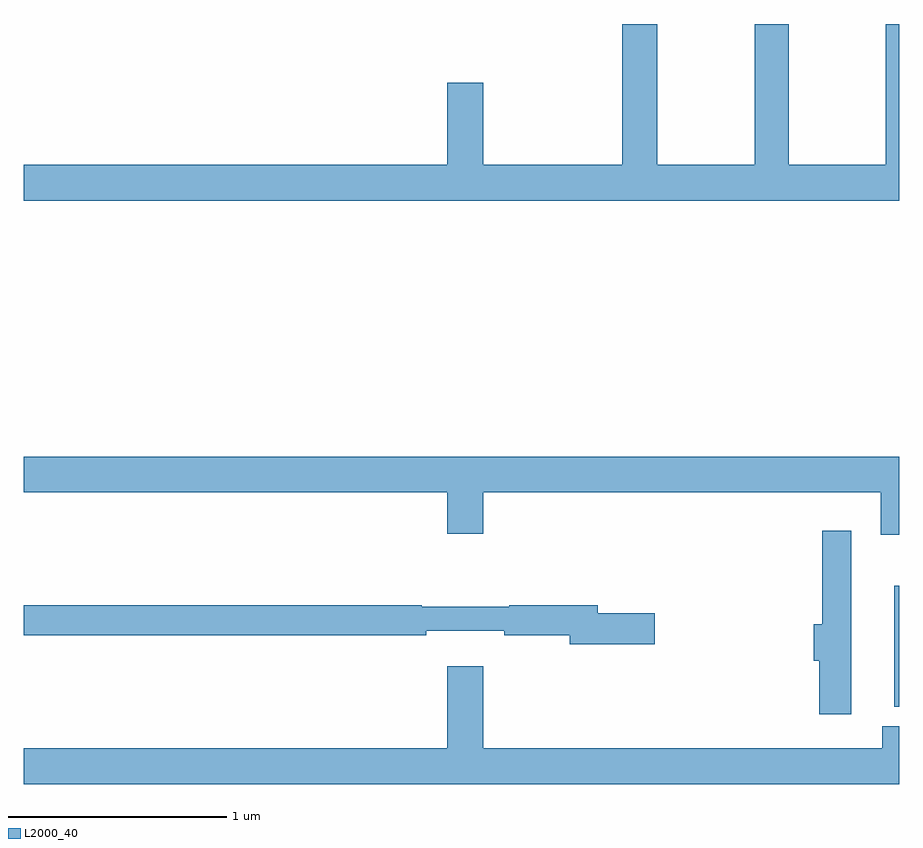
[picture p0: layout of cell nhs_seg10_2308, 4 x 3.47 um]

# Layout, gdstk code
import gdstk
lib = gdstk.Library(unit=1e-6, precision=1e-09)
def R(c, l, rs):  # rectangles x0, y0, x1, y1
    for r in rs: c.add(gdstk.rectangle(r[:2], r[2:], *l))
def P(c, l, *ps):  # polygons
    for p in ps: c.add(gdstk.Polygon(p, *l))
L2000_40 = (2000, 40)

nhs_seg10_2308 = lib.new_cell('nhs_seg10_2308')
R(nhs_seg10_2308, L2000_40, [(238.976,1255.38,239,1255.933)])
P(nhs_seg10_2308, L2000_40, [(239,1258.5),(238.939,1258.5),(238.939,1257.856),(238.494,1257.856),(238.494,1258.5),(238.339,1258.5),(238.339,1257.856),(237.894,1257.856),(237.894,1258.5),(237.734,1258.5),(237.734,1257.856),(237.1,1257.856),(237.1,1258.231),(236.936,1258.231),(236.936,1257.856),(235,1257.856),(235,1257.692),(239,1257.692)],
  [(239,1256.524),(235,1256.524),(235,1256.36),(236.936,1256.36),(236.936,1256.172),(237.1,1256.172),(237.1,1256.36),(238.916,1256.36),(238.916,1256.166),(239,1256.166)],
  [(238.78,1256.185),(238.649,1256.185),(238.649,1255.757),(238.61,1255.757),(238.61,1255.59),(238.634,1255.59),(238.634,1255.346),(238.78,1255.346)],
  [(237.883,1255.808),(237.622,1255.808),(237.622,1255.844),(237.218,1255.844),(237.218,1255.837),(236.818,1255.837),(236.818,1255.844),(235,1255.844),(235,1255.708),(236.84,1255.708),(236.84,1255.727),(237.196,1255.727),(237.196,1255.708),(237.494,1255.708),(237.494,1255.666),(237.883,1255.666)],
  [(239,1255.291),(238.922,1255.291),(238.922,1255.192),(237.1,1255.192),(237.1,1255.567),(236.936,1255.567),(236.936,1255.192),(235,1255.192),(235,1255.028),(239,1255.028)])

lib.write_gds('nhs_seg10_2308.gds')
